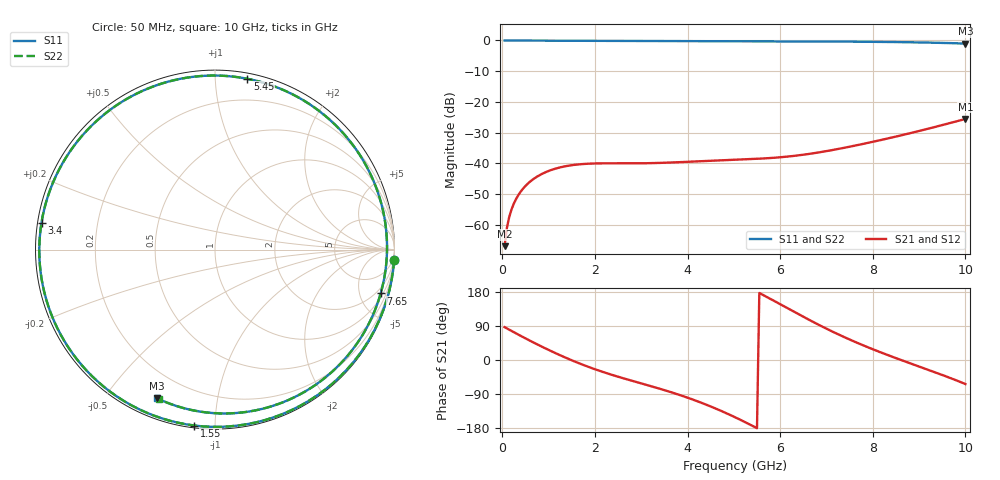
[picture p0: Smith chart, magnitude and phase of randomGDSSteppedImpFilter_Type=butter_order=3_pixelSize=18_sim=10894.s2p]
! freq	dB(S11)	phase(S11)	dB(S12)	phase(S12)
!  dB(S21)	phase(S21)	dB(S22)	phase(S22)
!S-par simulation data
#  GHz  S  DB  R 50
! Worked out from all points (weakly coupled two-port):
!   200 points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, 50 MHz to 10 GHz, reference 50 ohm
!   highest |S21| = -25.53 dB at 10 GHz (marker M1); lowest = -66.9 dB at 50 MHz (marker M2)
!   lowest |S11| = -1.0 dB at 10 GHz (marker M3), VSWR 17.04, Z = 4.3 - j34 ohm
!   |S11| at or under -10 dB: nowhere
!   |S22| runs from -1.0 to 0.0 dB; largest |S21 - S12| = 0
!   S11 on the Smith chart (normalised r, x): 50 MHz: 0, -34; 1.55 GHz: 0.01, -0.89; 3.4 GHz: 0.01, +0.08; 5.45 GHz: 0.04, +1.21; 7.65 GHz: 1.34, -7.44; 10 GHz: 0.09, -0.68
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0.05  -0.00 -3.4  -66.88 86.7  -66.88 86.7  -0.00 -3.4
0.1  -0.01 -6.7  -60.87 83.3  -60.87 83.3  -0.01 -6.7
0.2  -0.02 -13.3  -54.90 76.6  -54.90 76.6  -0.02 -13.3
0.45  -0.04 -29.7  -48.14 60.3  -48.14 60.3  -0.04 -29.7
1  -0.08 -64.4  -42.43 26.6  -42.43 26.6  -0.08 -64.4
1.55  -0.11 -96.7  -40.45 -3.3  -40.45 -3.3  -0.11 -96.7
1.75  -0.12 -107.7  -40.16 -13.1  -40.16 -13.1  -0.12 -107.7
2.2  -0.15 -131.4  -39.94 -32.7  -39.94 -32.7  -0.15 -131.4
2.6  -0.16 -151.3  -39.95 -47.8  -39.95 -47.8  -0.16 -151.3
3  -0.18 -170.4  -39.94 -61.7  -39.94 -61.7  -0.18 -170.3
3.4  -0.19 171.1  -39.81 -75.8  -39.81 -75.8  -0.19 171.2
3.85  -0.21 150.7  -39.55 -93.1  -39.55 -93.1  -0.21 150.8
4.3  -0.23 130.6  -39.25 -112.9  -39.25 -112.9  -0.23 130.6
5.05  -0.26 97.1  -38.79 -152.4  -38.79 -152.4  -0.26 97.2
5.45  -0.28 79.3  -38.52 -176.8  -38.52 -176.8  -0.28 79.4
6.05  -0.30 52.7  -37.91 143.9  -37.91 143.9  -0.30 52.9
6.7  -0.33 24.6  -36.72 101.2  -36.72 101.2  -0.33 24.7
7.15  -0.36 5.6  -35.57 73.7  -35.57 73.7  -0.36 5.8
7.65  -0.40 -14.8  -34.08 46.1  -34.08 46.1  -0.40 -14.6
8.35  -0.50 -42.6  -31.77 11.8  -31.77 11.8  -0.49 -42.3
9.2  -0.69 -76.2  -28.68 -26.0  -28.68 -26.0  -0.69 -75.9
10  -1.02 -111.3  -25.53 -63.4  -25.53 -63.4  -1.02 -110.7
